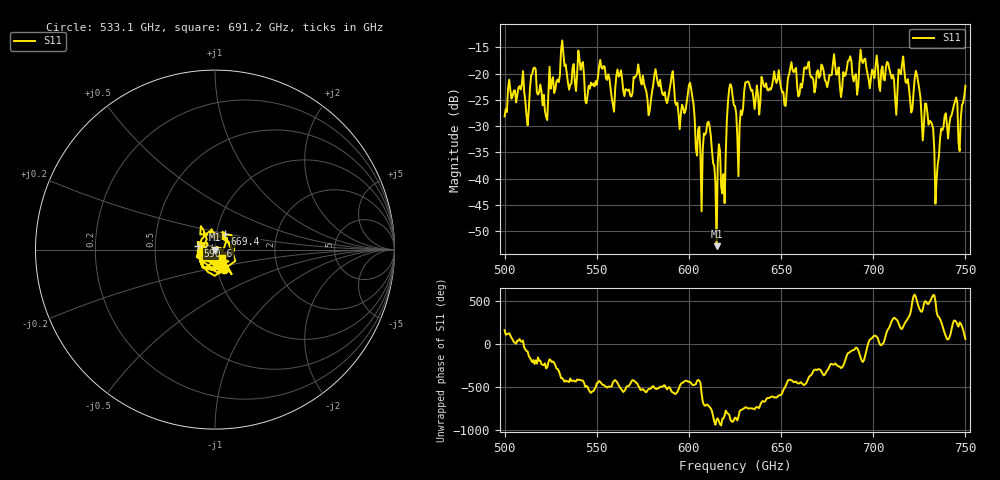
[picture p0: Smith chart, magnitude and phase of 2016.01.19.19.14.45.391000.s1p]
!Created with skrf (http://scikit-rf.org).
# GHz S RI R 50.0
!freq ReS11 ImS11
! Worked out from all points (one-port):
!   401 points, 500 GHz to 750 GHz, reference 50 ohm
!   lowest |S11| = -52.8 dB at 615 GHz (marker M1), VSWR 1.00, Z = 49.8 - j0.0824 ohm
!   |S11| at or under -10 dB: start of sweep to end of sweep
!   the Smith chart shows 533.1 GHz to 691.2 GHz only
!   S11 on the Smith chart (normalised r, x): 533.1 GHz: 1.08, -0.24; 590.6 GHz: 0.83, +0.04; 669.4 GHz: 1.10, +0.19; 691.2 GHz: 1.08, -0.10
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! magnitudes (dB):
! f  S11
! 500 GHz  -28.1
! 508.8 GHz  -23.0
! 512.5 GHz  -29.8
! 515.6 GHz  -19.0
! 521.9 GHz  -27.1
! 531.2 GHz  -13.7
! 533.1 GHz  -18.3
! 562.5 GHz  -20.3
! 578.1 GHz  -27.9
! 590.6 GHz  -20.4
! 593.8 GHz  -25.5
! 601.2 GHz  -23.0
! 605.6 GHz  -30.1
! 610.6 GHz  -29.2
! 615 GHz  -52.8
! 618.8 GHz  -39.1
! 621.9 GHz  -22.8
! 625 GHz  -26.2
! 656.2 GHz  -19.4
! 669.4 GHz  -19.7
! 687.5 GHz  -16.7
! 691.2 GHz  -24.0
! 718.8 GHz  -21.0
! 723.8 GHz  -20.3
! 734.4 GHz  -40.1
! 738.1 GHz  -30.1
! 747.5 GHz  -28.5
! 750 GHz  -22.3
